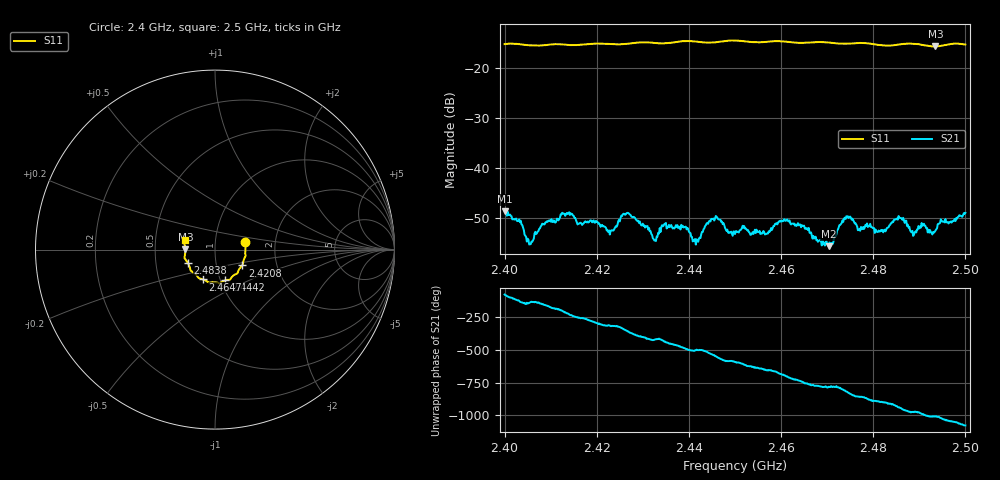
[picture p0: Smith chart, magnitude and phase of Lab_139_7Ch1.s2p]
# Hz S RI R 50
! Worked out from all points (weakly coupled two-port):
!   601 points, 2.4 GHz to 2.5 GHz, reference 50 ohm
!   highest |S21| = -48.69 dB at 2.4 GHz (marker M1); lowest = -55.7 dB at 2.4703 GHz (marker M2)
!   lowest |S11| = -15.7 dB at 2.4935 GHz (marker M3), VSWR 1.40, Z = 35.8 + j0.19 ohm
!   |S11| at or under -10 dB: start of sweep to end of sweep
!   S12 and S22 are empty: the file has one direction only
!   S11 on the Smith chart (normalised r, x): 2.4 GHz: 1.40, +0.12; 2.4208 GHz: 1.33, -0.24; 2.4442 GHz: 1.05, -0.37; 2.4647 GHz: 0.83, -0.28; 2.4838 GHz: 0.73, -0.11; 2.5 GHz: 0.71, +0.08
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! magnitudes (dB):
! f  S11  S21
! 2.4 GHz  -15.2  -48.7
! 2.4057 GHz  -15.4  -55.3
! 2.4127 GHz  -15.3  -49.2
! 2.4167 GHz  -15.3  -51.1
! 2.4208 GHz  -15.1  -51.8
! 2.4233 GHz  -15.2  -52.5
! 2.4268 GHz  -15.1  -49.0
! 2.4333 GHz  -15.0  -53.0
! 2.4388 GHz  -14.6  -51.9
! 2.4417 GHz  -14.7  -54.3
! 2.4442 GHz  -14.9  -51.2
! 2.4463 GHz  -14.7  -50.3
! 2.45 GHz  -14.5  -53.2
! 2.4647 GHz  -14.9  -51.6
! 2.4667 GHz  -14.8  -53.5
! 2.4703 GHz  -14.9  -55.7
! 2.4742 GHz  -15.1  -49.7
! 2.4772 GHz  -15.0  -52.6
! 2.4833 GHz  -15.5  -51.8
! 2.4838 GHz  -15.5  -51.1
! 2.4935 GHz  -15.7  -52.5
! 2.5 GHz  -15.3  -49.0
